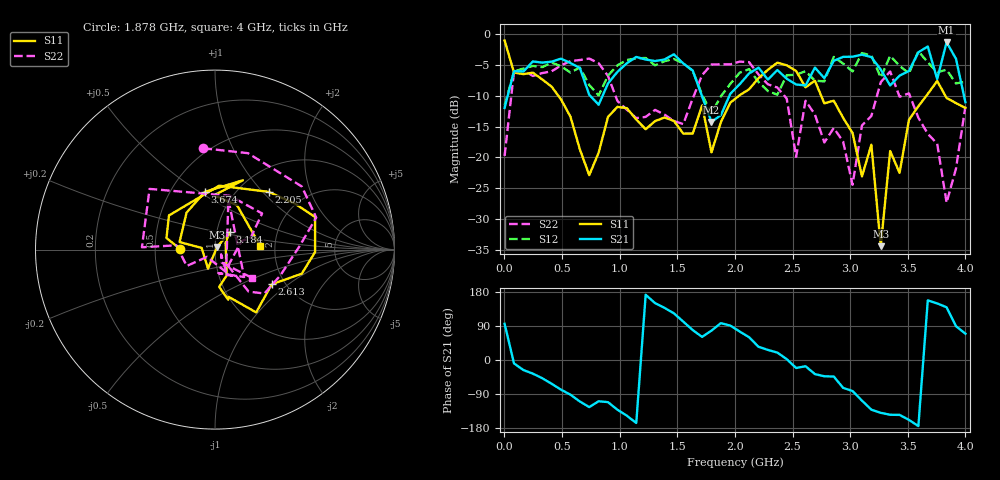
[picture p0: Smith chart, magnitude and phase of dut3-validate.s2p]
!Created with skrf (http://scikit-rf.org).
# GHz S DB R 50.0
!freq dBS11 angS11 dBS21 angS21 dBS12 angS12 dBS22 angS22
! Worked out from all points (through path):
!   50 points, 1 MHz to 4 GHz, reference 50 ohm
!   highest |S21| = -1.33 dB at 3.837 GHz (marker M1); lowest = -14.2 dB at 1.796 GHz (marker M2)
!   lowest |S11| = -34.4 dB at 3.265 GHz (marker M3), VSWR 1.04, Z = 51.2 + j1.53 ohm
!   |S11| at or under -10 dB: 467.1 MHz to 2.036 GHz (1.568 GHz wide, 125 % of centre); 2.748 GHz to 3.662 GHz (913.3 MHz wide, 28.5 % of centre); 3.826 GHz to end of sweep
!   |S22| runs from -27.3 to -4.0 dB; largest |S21 - S12| = 0.41
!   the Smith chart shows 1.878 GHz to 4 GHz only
!   S11 on the Smith chart (normalised r, x): 1.878 GHz: 0.68, +0.00; 2.205 GHz: 1.36, +1.08; 2.613 GHz: 1.71, -0.76; 3.184 GHz: 1.15, +0.23; 3.674 GHz: 0.73, +0.53; 4 GHz: 1.67, +0.08
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0.001  -1.04 177.1  -11.97 95.5  -11.58 -8.8  -19.75 159.7
0.08261224  -6.24 159.8  -6.02 -9.1  -6.07 -10.6  -6.09 164.7
0.4906735  -10.60 50.0  -3.99 -78.4  -5.20 -75.4  -5.09 80.3
0.7355102  -22.86 -150.5  -9.85 -124.2  -8.25 -139.0  -3.98 -6.4
0.9803469  -11.80 10.8  -6.13 -131.2  -5.07 -126.8  -10.85 -68.5
1.388408  -13.53 -134.3  -4.12 137.6  -4.41 137.3  -13.06 -120.5
1.714857  -11.56 51.7  -10.11 61.0  -9.82 68.3  -6.66 148.7
1.796469  -19.17 58.5  -14.23 77.5  -12.84 79.7  -4.94 131.3
1.878082  -14.28 179.2  -13.14 97.2  -10.09 97.8  -4.91 96.5
2.041306  -9.92 143.4  -8.13 75.1  -6.26 64.3  -4.47 36.0
2.204531  -7.15 47.2  -5.45 34.9  -7.77 33.8  -6.55 2.2
2.53098  -5.99 -15.5  -8.17 -21.1  -6.59 -2.8  -19.90 -51.4
2.612592  -8.62 -31.4  -8.34 -16.4  -6.02 -6.6  -10.80 75.0
2.694204  -7.57 -56.7  -5.45 -37.1  -7.55 -19.1  -13.04 -43.2
3.020653  -16.03 -65.6  -3.67 -81.9  -6.06 -85.4  -24.43 -137.7
3.183878  -17.93 49.7  -3.74 -131.0  -3.47 -126.7  -13.29 173.7
3.26549  -34.37 51.5  -5.77 -139.4  -7.06 -133.0  -7.80 178.2
3.347102  -18.95 -110.2  -8.33 -144.5  -3.53 -135.0  -6.07 137.1
3.510327  -13.89 168.0  -5.99 -158.0  -6.38 -178.1  -9.61 37.5
3.673551  -9.71 99.8  -2.02 157.3  -4.56 159.0  -16.17 17.9
3.836776  -10.37 90.8  -1.33 139.1  -5.78 140.0  -27.33 -37.9
4  -11.97 5.0  -11.05 69.5  -7.72 67.6  -11.75 -37.4
